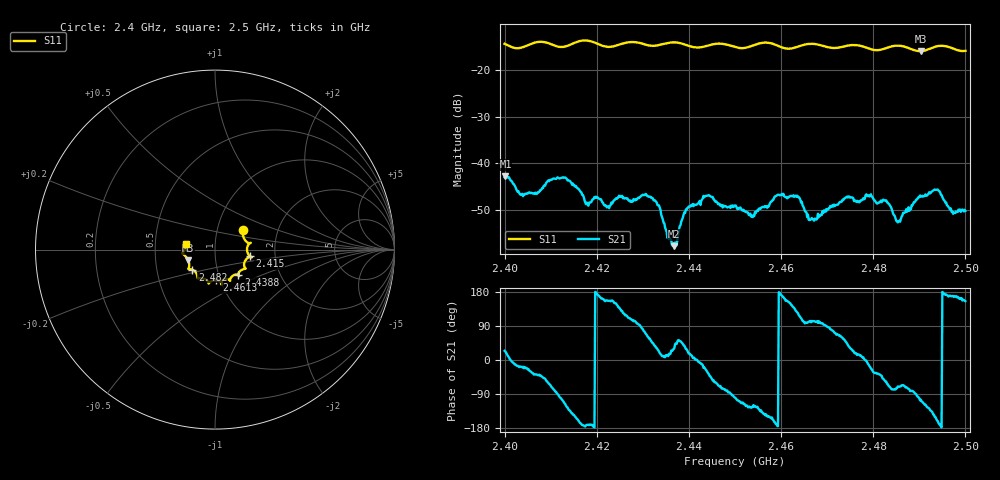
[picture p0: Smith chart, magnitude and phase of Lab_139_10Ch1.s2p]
# Hz S RI R 50
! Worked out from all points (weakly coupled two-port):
!   601 points, 2.4 GHz to 2.5 GHz, reference 50 ohm
!   highest |S21| = -42.73 dB at 2.4002 GHz (marker M1); lowest = -57.8 dB at 2.4367 GHz (marker M2)
!   lowest |S11| = -15.9 dB at 2.4903 GHz (marker M3), VSWR 1.38, Z = 36.8 - j4.45 ohm
!   |S11| at or under -10 dB: start of sweep to end of sweep
!   S12 and S22 are empty: the file has one direction only
!   S11 on the Smith chart (normalised r, x): 2.4 GHz: 1.33, +0.31; 2.415 GHz: 1.47, -0.11; 2.4388 GHz: 1.24, -0.36; 2.4613 GHz: 0.96, -0.34; 2.482 GHz: 0.76, -0.17; 2.5 GHz: 0.72, +0.05
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2.4e9  0.1573 0.112  0.00646 0.00291  0 0  0 0
2.400167e9  0.1566 0.1099  0.00675 0.00279  0 0  0 0
2.403833e9  0.1694 0.0503  0.00445 -0.00155  0 0  0 0
2.411e9  0.1823 0.0207  0.000815 -0.0068  0 0  0 0
2.415e9  0.1926 -0.0358  -0.00473 -0.00336  0 0  0 0
2.416667e9  0.2039 -0.0435  -0.00481 -0.000902  0 0  0 0
2.433333e9  0.1323 -0.1315  0.00319 0.00153  0 0  0 0
2.436667e9  0.1349 -0.1478  0.00113 0.000627  0 0  0 0
2.438833e9  0.1297 -0.1409  0.00219 0.00176  0 0  0 0
2.444e9  0.0851 -0.1633  0.00384 -0.00237  0 0  0 0
2.45e9  0.0686 -0.1647  -0.000572 -0.00349  0 0  0 0
2.453667e9  0.0354 -0.1802  -0.00153 -0.00227  0 0  0 0
2.461333e9  0.00781 -0.171  -0.00385 0.00172  0 0  0 0
2.466667e9  -0.0346 -0.1899  -0.000585 0.00252  0 0  0 0
2.474333e9  -0.0893 -0.1608  0.00321 0.00303  0 0  0 0
2.482e9  -0.126 -0.1118  0.00267 -0.00295  0 0  0 0
2.483333e9  -0.1397 -0.1089  0.00135 -0.00343  0 0  0 0
2.4855e9  -0.149 -0.1085  0.000795 -0.00227  0 0  0 0
2.490333e9  -0.1494 -0.0589  -0.00114 -0.00427  0 0  0 0
2.493833e9  -0.1804 -0.0225  -0.00489 -0.00185  0 0  0 0
2.497167e9  -0.1727 -0.00946  -0.00297 0.000594  0 0  0 0
2.5e9  -0.1589 0.0328  -0.00281 0.00129  0 0  0 0
